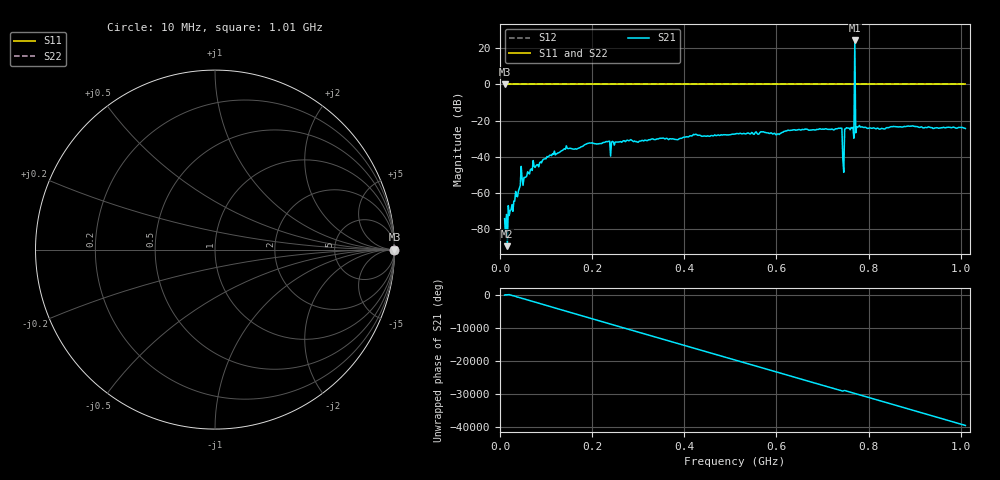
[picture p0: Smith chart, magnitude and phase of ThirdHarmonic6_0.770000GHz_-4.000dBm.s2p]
! 8/16/2025 1:42:52 AM
! C:\ANRITSUVNA\TEMP\TEMP.S2P
! CHANNEL.1
! TR.MEASUREMENT
! RAW.DATA
! RF.CORRECTION.OFF
! AVERAGING.OFF
! IF.BANDWIDTH: 5KHZ
! SWEEPTYPE:  FREQ.SWEEP(Linear)
! Reference Plane Port Info
! PORT:  PORT1  PORT2
! DISTANCE:  0  m  0  m
! TIME:  0  s  0  s
! PHASE.OFFSET:  0  deg.  0  deg.
! LOSS:  0  dB  0  dB
! REF.LOSS:  0  dB  0  dB
! REF.FREQ:  0  Hz  0  Hz
! Power Info
! POWER:  -20  dBm  -20  dBm
! EFF.POWER:  -20  dBm  -20  dBm
! SOURCE.ATTEN:  0  dB  0  dB
! TEST.ATTEN:  0  dB  0  dB
# GHZ S RI R 50.0
! FREQ.GHZ  S11RE  S11IM  S21RE  S21IM  S12RE  S12IM  S22RE  S22IM
!; PortSelection: Port_12
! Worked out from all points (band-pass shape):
!   501 points, 10 MHz to 1.01 GHz, reference 50 ohm
!   highest |S21| = 24.28 dB at 770 MHz (marker M1); lowest = -89.4 dB at 16 MHz (marker M2)
!   |S21| within 3 dB of the highest: 769.8889 MHz to 770.1175 MHz (228.6 kHz wide, 0.0297 % of centre)
!   lowest |S11| = 0.0 dB at 10 MHz (marker M3)
!   |S11| at or under -10 dB: nowhere
!   |S22| runs from 0.0 to 0.0 dB; largest |S21 - S12| = 17
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0.01  1 0  0.000171 -9.31e-05  1 0  1 0
0.016  1 0  1.04e-05 3.23e-05  1 0  1 0
0.04  1 0  0.000983 0.000548  1 0  1 0
0.044  1 0  -0.000513 -0.00154  1 0  1 0
0.07  1 0  -0.00138 -0.00397  1 0  1 0
0.142  1 0  -0.015 -0.00603  1 0  1 0
0.178  1 0  -0.0185 -0.00472  1 0  1 0
0.344  1 0  0.0307 -0.00592  1 0  1 0
0.51  1 0  -0.0404 0.0131  1 0  1 0
0.678  1 0  -0.0222 -0.0509  1 0  1 0
0.738  1 0  0.0608 -0.0088  1 0  1 0
0.742  1 0  -0.0604 -0.00993  1 0  1 0
0.746  1 0  -0.00142 -0.00343  1 0  1 0
0.748  1 0  0.0358 -0.0457  1 0  1 0
0.752  1 0  -0.0535 0.0342  1 0  1 0
0.764  1 0  0.0584 0.0245  1 0  1 0
0.766  1 0  0.0367 -0.0532  1 0  1 0
0.77  1 0  -14.74 7.095  1 0  1 0
0.774  1 0  0.0621 -0.0256  1 0  1 0
0.776  1 0  -0.0147 -0.065  1 0  1 0
0.844  1 0  0.0446 0.0461  1 0  1 0
1.01  1 0  -0.0587 -0.0154  1 0  1 0
